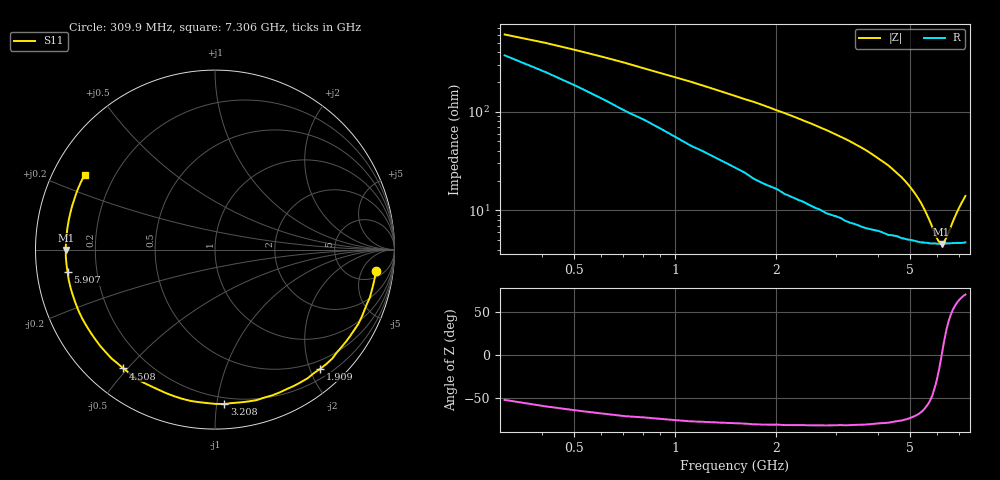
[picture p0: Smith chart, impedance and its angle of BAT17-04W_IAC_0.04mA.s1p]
! Infineon Technologies  Discrete & RF Semiconductors
! BAT17-04W
! IAC = 0.04 mA
! One-Port S-Parameters
# Hz  S  MA  R  50
!f  S11
!Hz  Mag  Ang
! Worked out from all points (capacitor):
!   71 points, 309.9 MHz to 7.306 GHz, reference 50 ohm
!   read as one part to ground: C = 899 fF near 309.9 MHz
!   lowest |Z| = 4.58 ohm at 6.207 GHz (marker M1)
!   series resonance near 6.211 GHz, so ESL is about 730 pH
!   S11 on the Smith chart (normalised r, x): 309.9 MHz: 7, -10; 1.909 GHz: 0.35, -2.17; 3.208 GHz: 0.16, -1.05; 4.508 GHz: 0.11, -0.49; 5.907 GHz: 0.09, -0.08; 7.306 GHz: 0.10, +0.26
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3.0985e8  0.9041 -7.5
7.0965e8  0.9032 -17.2
1.10945e9  0.8998 -27.2
1.2094e9  0.896 -29.8
1.70915e9  0.8918 -42.8
1.90905e9  0.8861 -48.5
2.10895e9  0.8833 -54.1
2.30885e9  0.8775 -59.9
2.6087e9  0.8722 -68.6
2.8086e9  0.8701 -74.5
3.0085e9  0.8629 -80.6
3.2084e9  0.8618 -86.6
3.6082e9  0.8539 -99.0
3.8081e9  0.8481 -105.5
4.10795e9  0.8404 -115.2
4.30785e9  0.8417 -121.0
4.50775e9  0.8358 -127.6
4.70765e9  0.8369 -133.6
5.0075e9  0.8335 -143.2
5.2074e9  0.833 -149.5
5.4073e9  0.8334 -155.7
5.6072e9  0.832 -162.0
5.90705e9  0.831 -171.3
6.2069e9  0.832 -179.9
6.50675e9  0.831 171.4
6.8066e9  0.8322 163.2
7.0065e9  0.8342 157.9
7.30635e9  0.8369 150.2
